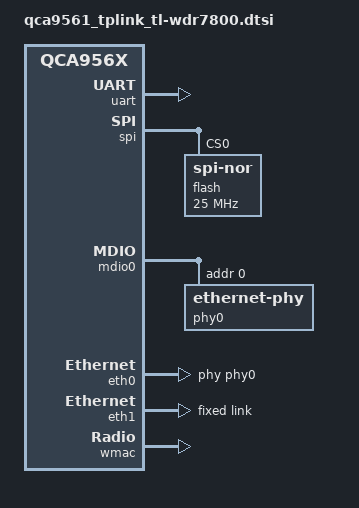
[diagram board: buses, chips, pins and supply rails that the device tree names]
// SPDX-License-Identifier: GPL-2.0-or-later OR MIT
/dts-v1/;

#include <dt-bindings/gpio/gpio.h>
#include <dt-bindings/input/input.h>

#include "qca956x.dtsi"

/ {
	chosen {
		bootargs = "console=ttyS0,115200n8";
	};

	aliases {
		led-boot = &system;
		led-failsafe = &system;
		led-running = &system;
		led-upgrade = &system;
	};

	gpio_leds: leds {
		compatible = "gpio-leds";
	};

  gpio_keys: keys {
		compatible = "gpio-keys";
	};
};

&uart {
	status = "okay";
};

&gpio {
	status = "okay";
};

&spi {
  status = "okay";
  num-cs = <1>;

  flash@0 {
    compatible = "jedec,spi-nor";
    reg = <0>;
    spi-max-frequency = <25000000>;

    mtdparts: partitions {
      compatible = "fixed-partitions";
      #address-cells = <1>;
      #size-cells = <1>;
    };
  };
};

&mdio0 {
  status = "okay";

  phy0: ethernet-phy@0 {
    reg = <0>;

    qca,ar8327-initvals = <
      0x04 0x00080080 /* PORT0 PAD MODE CTRL */
      0x0c 0x07600000 /* PORT6 PAD MODE CTRL */
      0x50 0xc737c737 /* LED_CTRL0 */
      0x54 0x00000000 /* LED_CTRL1 */
      0x58 0x00000000 /* LED_CTRL2 */
      0x5c 0x0030c300 /* LED_CTRL3 */
      0x7c 0x0000007e /* PORT0_STATUS */
      0x94 0x0000007e /* PORT6 STATUS */
      >;
  };
};

&eth0 {
  status = "okay";

  mtd-mac-address = <&uboot 0x1fc00>;
  mtd-mac-address-increment = <1>;
  phy-handle = <&phy0>;
  pll-data = <0x56000000 0x00000101 0x00001616>;

  gmac-config {
    device = <&gmac>;
    rgmii-enabled = <1>;
  };
};

&eth1 {
  status = "okay";

  mtd-mac-address = <&uboot 0x1fc00>;
  pll-data = <0x03000101 0x00000101 0x00001616>;

  fixed-link {
    speed = <1000>;
    full-duplex;
  };
};

&wmac {
  status = "okay";
  mtd-cal-data = <&art 0x1000>;
  mtd-mac-address = <&uboot 0x1fc00>;
};
